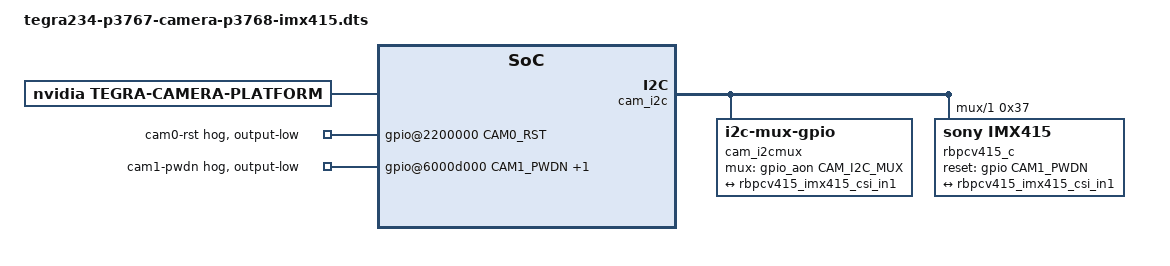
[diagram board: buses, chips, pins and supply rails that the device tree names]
// SPDX-License-Identifier: GPL-2.0-only
/*
 * Overlay for the Waveshare IMX415-98 camera (Sony IMX415) on the CAM1
 * 22-pin connector of the P3768 carrier board (Jetson Orin Nano devkit).
 *
 * Adapted from tegra234-p3767-camera-p3768-imx219-C.dts (same connector,
 * same reset line PAC.00, same serial_c CSI routing). The module has its
 * own 37.125 MHz crystal, so no mclk is routed from Tegra.
 *
 * Single mode: 3864x2192 RAW10 GBRG @ 30 fps, 4 lanes at 891 Mbps/lane
 * (445.5 MHz link frequency). CAM1 on P3768 has all 4 lanes wired.
 */

/dts-v1/;
/plugin/;

#define CAM0_RST	TEGRA234_MAIN_GPIO(H, 3)
#define CAM0_PWDN	TEGRA234_MAIN_GPIO(H, 6)
#define CAM1_PWDN	TEGRA234_MAIN_GPIO(AC, 0)
#define CAM_I2C_MUX 	TEGRA234_AON_GPIO(CC, 3)

#include <dt-bindings/tegra234-p3767-0000-common.h>
#include <dt-bindings/pinctrl/pinctrl-tegra.h>

/ {
	overlay-name = "Camera IMX415-98";
	jetson-header-name = "Jetson 22pin CSI Connector";
	compatible = JETSON_COMPATIBLE_P3768;

	/* IMX415 sensor module on CSI serial_c / cam1 connector */
	fragment@0 {
		target-path = "/";
		__overlay__ {
			tegra-capture-vi  {
				num-channels = <1>;
				ports {
					#address-cells = <1>;
					#size-cells = <0>;
					vi_port1: port@1 {
						reg = <0>;
						rbpcv415_imx415_vi_in1: endpoint {
							port-index = <2>;
							bus-width = <4>;
							remote-endpoint = <&rbpcv415_imx415_csi_out1>;
						};
					};
				};
			};
			tegra-camera-platform {
				compatible = "nvidia, tegra-camera-platform";
				modules {
					cam_module1: module1 {
						badge = "jakku_rear_IMX415";
						position = "rear";
						orientation = "1";
						cam_module1_drivernode0: drivernode0 {
							pcl_id = "v4l2_sensor";
							sysfs-device-tree = "/sys/firmware/devicetree/base/bus@0/cam_i2cmux/i2c@1/rbpcv415_c@37";
						};
						cam_module1_drivernode1: drivernode1 {
							pcl_id = "v4l2_lens";
							sysfs-device-tree = "/sys/firmware/devicetree/base/bus@0/lens_imx415@IMX41598";
						};
					};
				};
			};
			bus@0 {
				host1x@13e00000 {
					nvcsi@15a00000 {
						num-channels = <1>;
						#address-cells = <1>;
						#size-cells = <0>;
						csi_chan1: channel@1 {
							reg = <0>;
							ports {
								#address-cells = <1>;
								#size-cells = <0>;
								csi_chan1_port0: port@0 {
									reg = <0>;
									rbpcv415_imx415_csi_in1: endpoint@2 {
										port-index = <2>;
										bus-width = <4>;
										remote-endpoint = <&rbpcv415_imx415_out1>;
									};
								};
								csi_chan1_port1: port@1 {
									reg = <1>;
									rbpcv415_imx415_csi_out1: endpoint@3 {
										remote-endpoint = <&rbpcv415_imx415_vi_in1>;
									};
								};
							};
						};
					};
				};
				cam_i2cmux {
					status = "okay";
					compatible = "i2c-mux-gpio";
					#address-cells = <1>;
					#size-cells = <0>;
					mux-gpios = <&gpio_aon CAM_I2C_MUX GPIO_ACTIVE_HIGH>;
					i2c-parent = <&cam_i2c>;
					i2c@1 {
						status = "okay";
						reg = <1>;
						#address-cells = <1>;
						#size-cells = <0>;
						rbpcv415_c@37 {
							/* XCLR: sensor is I2C-dead while this pin is low */
							reset-gpios = <&gpio CAM1_PWDN GPIO_ACTIVE_HIGH>;
							compatible = "sony,imx415";
							/* I2C address is strapped to 0x37 on the Waveshare board */
							reg = <0x37>;
							/* V4L2 device node location */
							devnode = "video0";
							/* Physical dimensions of sensor (1.45 um pixels) */
							physical_w = "5.602";
							physical_h = "3.178";
							sensor_model = "imx415";
							use_sensor_mode_id = "true";
							/*
							 * Argus-only, kernel ignores it: our gain
							 * control is dB x gain_factor, so the camera
							 * core must convert its linear multipliers
							 * to dB before setting the control (same
							 * property as the Argus-supported FRAMOS
							 * IMX715 overlays). V4L2 semantics unchanged.
							 */
							use_decibel_gain = "true";

							mode0 { /* IMX415_MODE_3864x2192_30FPS */
								/* module's own crystal; informational, no Tegra mclk */
								mclk_khz = "37125";
								num_lanes = "4";
								tegra_sinterface = "serial_c";
								phy_mode = "DPHY";
								/* IMX415 outputs a continuous CSI clock */
								discontinuous_clk = "no";
								dpcm_enable = "false";
								cil_settletime = "0";
								active_w = "3864";
								active_h = "2192";
								mode_type = "bayer";
								pixel_phase = "gbrg";
								csi_pixel_bit_depth = "10";
								readout_orientation = "0";
								/*
								 * 445.5 MHz link freq x 2 (DDR) x 4 lanes / 10 bit
								 * = 356.4 MHz; with line_length 5280 the line rate is
								 * 67500 lines/s = the sensor's real 14.81 us line time
								 * (HMAX 1100 x 12 / 891 MHz).
								 */
								line_length = "5280";
								inherent_gain = "1";
								mclk_multiplier = "9.6";
								pix_clk_hz = "356400000";

								gain_factor = "1000";
								framerate_factor = "1000000";
								exposure_factor = "1000000";
								/* 0..30 dB in 0.3 dB steps (GAIN_PCG_0 0..100) */
								min_gain_val = "0";
								max_gain_val = "30000";
								step_gain_val = "300";
								default_gain = "0";
								min_hdr_ratio = "1";
								max_hdr_ratio = "1";
								/* full frame at 30 fps on 4 lanes at 891 Mbps */
								min_framerate = "2000000";
								max_framerate = "30000000";
								step_framerate = "1";
								default_framerate = "30000000";
								/* 4 lines .. VMAX-8 lines at 14.81 us/line */
								min_exp_time = "59";
								max_exp_time = "33200";
								step_exp_time = "1";
								default_exp_time = "16000";
								/*
								 * The sensor family transmits 1 embedded-data
								 * line per frame; without this VI discards
								 * every frame (CHANSEL_EMBED_INFRINGE seen as
								 * corr_err/err_data 16384). Same value as the
								 * working FRAMOS IMX715 overlay for this port.
								 */
								embedded_metadata_height = "1";
							};
							mode1 { /* IMX415_MODE_3864x2192_12BIT_30FPS */
								mclk_khz = "37125";
								num_lanes = "4";
								tegra_sinterface = "serial_c";
								phy_mode = "DPHY";
								discontinuous_clk = "no";
								dpcm_enable = "false";
								cil_settletime = "0";
								active_w = "3864";
								active_h = "2192";
								mode_type = "bayer";
								pixel_phase = "gbrg";
								csi_pixel_bit_depth = "12";
								readout_orientation = "0";
								/*
								 * 445.5 MHz x 2 (DDR) x 4 lanes / 12 bit
								 * = 297 MHz; line_length 4400 -> 67500
								 * lines/s = same 14.81 us line time as the
								 * 10-bit mode (HMAX 1100 unchanged).
								 */
								line_length = "4400";
								inherent_gain = "1";
								mclk_multiplier = "8.0";
								pix_clk_hz = "297000000";

								gain_factor = "1000";
								framerate_factor = "1000000";
								exposure_factor = "1000000";
								min_gain_val = "0";
								max_gain_val = "30000";
								step_gain_val = "300";
								default_gain = "0";
								min_hdr_ratio = "1";
								max_hdr_ratio = "1";
								min_framerate = "2000000";
								max_framerate = "30000000";
								step_framerate = "1";
								default_framerate = "30000000";
								min_exp_time = "59";
								max_exp_time = "33200";
								step_exp_time = "1";
								default_exp_time = "16000";
								embedded_metadata_height = "1";
							};
							ports {
								#address-cells = <1>;
								#size-cells = <0>;
								port@0 {
									reg = <0>;
									rbpcv415_imx415_out1: endpoint {
										status = "okay";
										port-index = <2>;
										bus-width = <4>;
										remote-endpoint = <&rbpcv415_imx415_csi_in1>;
									};
								};
							};
						};
					};
				};
				/*
				 * Fixed-focus M12 lens of the Waveshare IMX415-98 module
				 * (spec PDF in reference/): EFL 3.95 mm, F/2.0, 98 deg FOV,
				 * focus 20 cm..inf. Referenced by drivernode1 (v4l2_lens);
				 * Argus reports these in its camera properties. Zeros mirror
				 * the stock lens_imx219@RBPCV2 convention for unknown fields.
				 */
				lens_imx415@IMX41598 {
					min_focus_distance = "0.0";
					hyper_focal = "0.0";
					focal_length = "3.95";
					f_number = "2.0";
					aperture = "0.0";
				};
				gpio@2200000 {
					camera-control-output-low {
						gpio-hog;
						output-low;
						gpios = <CAM0_RST 0>;
						label = "cam0-rst";
					};
				};
				gpio@6000d000 {
					camera-control-output-low {
						gpio-hog;
						output-low;
						gpios = < CAM1_PWDN 0  CAM0_PWDN 0>;
						label = "cam1-pwdn", "cam0-pwdn";
					};
				};
			};
		};
	};

	/*
	 * IR-CUT fix (validated on target 2026-07-11): CAM1 connector pin 18
	 * (module FFC pin 5 "IR-CUT", the H-bridge direction input) is the
	 * extperiph2_clk_pp1 pad. Stock pinmux = EXTPERIPH2 with the clock
	 * gated, so the pad force-drove the line to 0 V = night mode and the
	 * module's own day/night switch was overridden. Muxing to RSVD1 (=
	 * GPIO mode) leaves the pad hi-Z while GPIO PP.01 (main gpio line 113)
	 * is unclaimed - the physical switch works - and software selects the
	 * mode by driving PP.01 (gpioset/libgpiod). No gpio-hog on purpose.
	 */
	fragment@1 {
		target = <&pinmux>;
		__overlay__ {
			pinctrl-names = "default";
			pinctrl-0 = <&imx415_ircut_state>;
			imx415_ircut_state: imx415-ircut {
				ircut-pin {
					nvidia,pins = "extperiph2_clk_pp1";
					nvidia,function = "rsvd1";
					nvidia,pull = <TEGRA_PIN_PULL_NONE>;
					nvidia,tristate = <TEGRA_PIN_DISABLE>;
					nvidia,enable-input = <TEGRA_PIN_DISABLE>;
				};
			};
		};
	};
};
